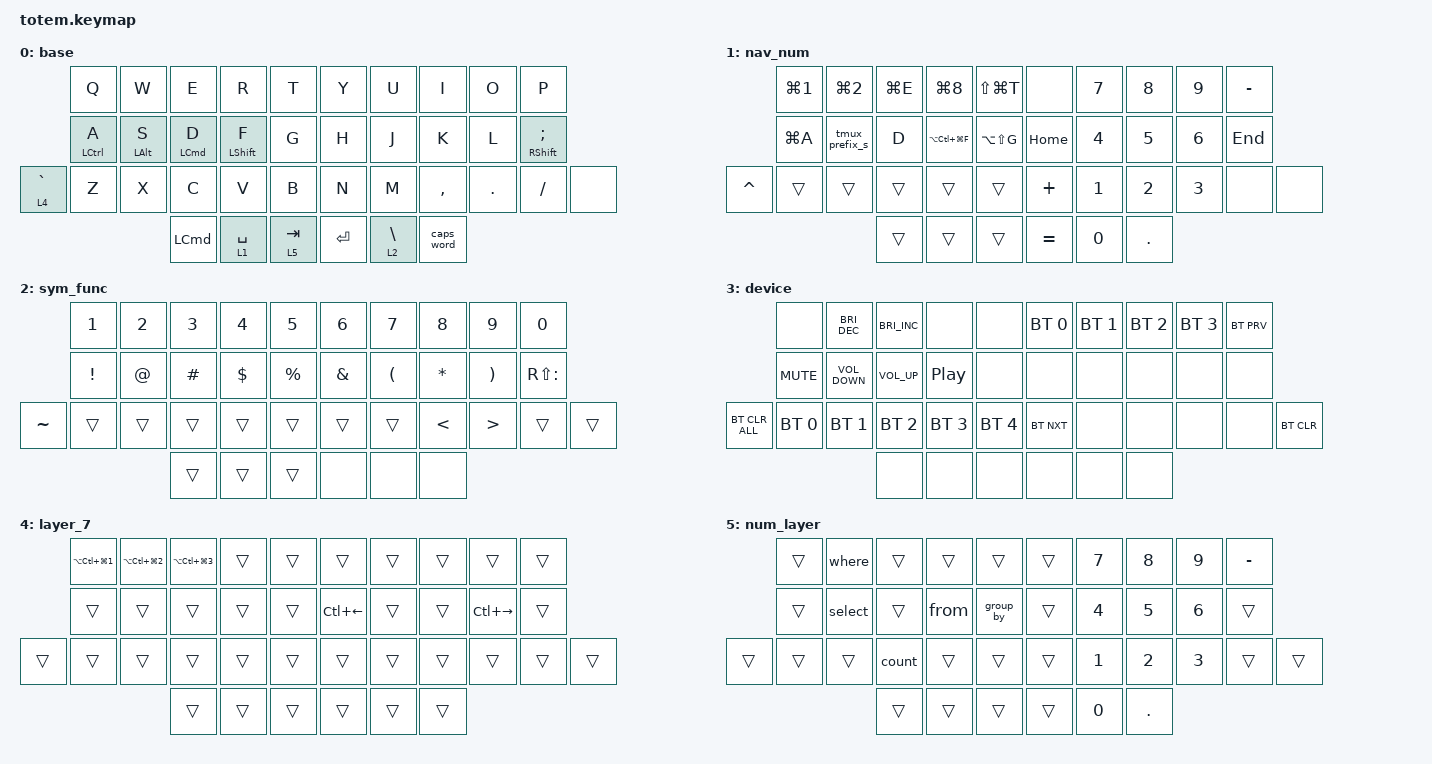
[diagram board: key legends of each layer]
//
//                                                        ▀▀▀▀▀     ▀▀▀▀▀          ▀▀█▀▀
//                                                        ▄▀▀▀▄  ▄  ▄▀▀▀▄  ▄  ▄▀▀▀▄  █  ▄▀▀▀▄
//                                                        █   █  █  █   █  █  █   █  █  █   █
//                                                         ▀▀▀   █   ▀▀▀   █   ▀▀▀   ▀   ▀▀▀
//                                                               █      ▄▄▄█▄▄▄    █   █  
//                                                               ▀      █  █  █     █▄█
//                                                             ▀▀▀▀▀    █  █  █      ▀
//                                                                      ▀  ▀  ▀
//
// ▄▄▄▄▄▄▄▄▄▄▄▄▄▄▄▄▄▄▄▄▄▄▄▄▄▄▄▄▄▄▄▄▄▄▄▄▄▄▄▄▄▄▄▄▄▄▄▄▄▄▄▄▄▄▄▄▄▄▄▄▄▄▄▄▄▄▄▄▄▄▄▄▄▄▄▄▄▄▄▄▄▄▄▄▄▄▄▄▄▄▄▄▄▄▄▄▄▄▄▄▄▄▄▄▄▄▄▄▄▄▄▄▄▄▄▄▄▄▄▄▄▄▄▄▄▄▄▄▄▄▄▄▄▄▄▄▄▄▄▄▄▄▄▄▄▄▄▄▄

#include <behaviors.dtsi>
#include <dt-bindings/zmk/bt.h>
#include <dt-bindings/zmk/keys.h>

/ {
    combos {
        compatible = "zmk,combos";

        backspace {
            bindings = <&kp BACKSPACE>;
            key-positions = <16 17>;
            layers = <0>;
        };

        minus {
            bindings = <&kp MINUS>;
            key-positions = <16 7>;
            layers = <0>;
        };

        equal {
            bindings = <&kp EQUAL>;
            key-positions = <8 16>;
        };

        copy {
            bindings = <&kp LG(C)>;
            key-positions = <22 23>;
        };

        paste {
            bindings = <&kp LG(V)>;
            key-positions = <23 24>;
        };

        cut {
            bindings = <&kp LG(X)>;
            key-positions = <21 22>;
        };

        question_mark {
            bindings = <&kp QUESTION>;
            key-positions = <28 29>;
            layers = <0>;
        };

        left_parenthesis {
            bindings = <&kp LEFT_BRACKET>;
            key-positions = <6 7>;
            layers = <0>;
        };

        right_parenthesis {
            bindings = <&kp RIGHT_BRACKET>;
            key-positions = <8 6>;
            layers = <0>;
        };

        esc {
            bindings = <&kp ESC>;
            key-positions = <17 18>;
            layers = <0>;
        };

        tmux_prefix {
            bindings = <&kp LC(A)>;
            key-positions = <10 11>;
            layers = <0>;
        };

        single_quotes {
            bindings = <&kp SINGLE_QUOTE>;
            key-positions = <16 18>;
            layers = <0>;
        };

        f18 {
            bindings = <&kp F18>;
            key-positions = <27 28>;
            layers = <0>;
        };

        shift+p {
            bindings = <&kp LS(P)>;
            key-positions = <8 9>;
            layers = <0>;
            timeout-ms = <30>;
        };

        underscore {
            bindings = <&kp UNDERSCORE>;
            key-positions = <27 17>;
        };
    };

    behaviors {
        homerow_Rshift: homerow_Rshift {
            compatible = "zmk,behavior-hold-tap";
            label = "HOMEROW_RSHIFT";
            bindings = <&kp>, <&kp>;

            #binding-cells = <2>;
            tapping-term-ms = <139>;
        };

        homerow: homerow {
            compatible = "zmk,behavior-hold-tap";
            label = "HOMEROW";
            bindings = <&kp>, <&kp>;

            #binding-cells = <2>;
            tapping-term-ms = <200>;
            quick-tap-ms = <130>;
            flavor = "tap-preferred";
        };

        homerow_LCtrl: homerow_LCtrl {
            compatible = "zmk,behavior-hold-tap";
            label = "HOMEROW_LCTRL";
            bindings = <&kp>, <&kp>;

            #binding-cells = <2>;
            tapping-term-ms = <210>;
            quick-tap-ms = <140>;
            flavor = "tap-preferred";
        };

        LT_LANG_FAST: LT_LANG_FAST {
            compatible = "zmk,behavior-hold-tap";
            label = "LT_LANG_FAST";
            bindings = <&mo>, <&kp>;

            #binding-cells = <2>;
            tapping-term-ms = <160>;
            quick-tap-ms = <120>;
        };

        homerow_LShift: homerow_LShift {
            compatible = "zmk,behavior-hold-tap";
            label = "HOMEROW_LSHIFT";
            bindings = <&kp>, <&kp>;

            #binding-cells = <2>;
            tapping-term-ms = <140>;
            flavor = "tap-preferred";
        };

        v_tab_dance: v_tab_dance {
            compatible = "zmk,behavior-tap-dance";
            label = "V_TAB_DANCE";
            #binding-cells = <0>;
            bindings = <&kp V>, <&tmux_visual_mode>;
        };
    };

    macros {
        tmux_prefix_s: tmux_prefix_s {
            compatible = "zmk,behavior-macro";
            #binding-cells = <0>;
            bindings = <&kp LC(A) &kp S>;
            label = "TMUX_PREFIX_S";
        };

        count: count {
            compatible = "zmk,behavior-macro";
            #binding-cells = <0>;
            bindings = <&kp C &kp O &kp U &kp N &kp T &kp LPAR &kp STAR &kp RPAR>;
            label = "COUNT";
        };

        select: select {
            compatible = "zmk,behavior-macro";
            #binding-cells = <0>;
            bindings = <&kp S &kp E &kp L &kp E &kp C &kp T &kp SPACE>;
            label = "SELECT";
        };

        from: from {
            compatible = "zmk,behavior-macro";
            #binding-cells = <0>;
            bindings = <&kp F &kp R &kp O &kp M &kp SPACE>;
            label = "FROM";
        };

        where: where {
            compatible = "zmk,behavior-macro";
            #binding-cells = <0>;
            bindings = <&kp W &kp H &kp E &kp R &kp E &kp SPACE>;
            label = "WHERE";
        };

        group_by: group_by {
            compatible = "zmk,behavior-macro";
            #binding-cells = <0>;
            bindings = <&kp G &kp R &kp O &kp U &kp P &kp SPACE &kp B &kp Y &kp SPACE>;
            label = "GROUP_BY";
        };

        tmux_visual_mode: tmux_visual_mode {
            compatible = "zmk,behavior-macro";
            #binding-cells = <0>;
            bindings = <&kp LC(A) &kp LEFT_BRACKET>;
            label = "TMUX_VISUAL_MODE";
        };
    };

    keymap {
        compatible = "zmk,keymap";

        base {
            bindings = <
             &kp Q                   &kp W                &kp E                    &kp R                     &kp T        &kp Y      &kp U                      &kp I       &kp O    &kp P
             &homerow_LCtrl LCTRL A  &homerow LEFT_ALT S  &homerow LEFT_COMMAND D  &homerow_LShift LSHIFT F  &kp G        &kp H      &kp J                      &kp K       &kp L    &homerow_Rshift RSHFT SEMICOLON
&lt 4 GRAVE  &kp Z                   &kp X                &kp C                    &kp V                     &kp B        &kp N      &kp M                      &kp COMMA   &kp DOT  &kp SLASH                        &none
                                                          &kp LEFT_COMMAND         &lt 1 SPACE               &lt 5 TAB    &kp ENTER  &LT_LANG_FAST 2 BACKSLASH  &caps_word
            >;
        };

        nav_num {
            bindings = <
           &kp LG(NUMBER_1)  &kp LG(NUMBER_2)  &kp LG(E)  &kp LG(NUMBER_8)   &kp LS(LG(T))    &none      &kp NUMBER_7  &kp NUMBER_8  &kp NUMBER_9  &kp MINUS
           &kp LG(A)         &tmux_prefix_s    &kp D      &kp LA(LC(LG(F)))  &kp LA(LS(G))    &kp HOME   &kp NUMBER_4  &kp N5        &kp NUMBER_6  &kp END
&kp CARET  &trans            &trans            &trans     &trans             &trans           &kp PLUS   &kp NUMBER_1  &kp NUMBER_2  &kp NUMBER_3  &none      &none
                                               &trans     &trans             &trans           &kp EQUAL  &kp NUMBER_0  &kp DOT
            >;
        };

        sym_func {
            bindings = <
           &kp NUMBER_1     &kp NUMBER_2  &kp NUMBER_3  &kp NUMBER_4  &kp NUMBER_5    &kp NUMBER_6   &kp NUMBER_7          &kp NUMBER_8   &kp NUMBER_9           &kp NUMBER_0
           &kp EXCLAMATION  &kp AT_SIGN   &kp HASH      &kp DOLLAR    &kp PERCENT     &kp AMPERSAND  &kp LEFT_PARENTHESIS  &kp ASTERISK   &kp RIGHT_PARENTHESIS  &kp RS(COLON)
&kp TILDE  &trans           &trans        &trans        &trans        &trans          &trans         &trans                &kp LESS_THAN  &kp GREATER_THAN       &trans         &trans
                                          &trans        &trans        &trans          &none          &none                 &none
            >;
        };

        device {
            bindings = <
                &none         &kp C_BRIGHTNESS_DEC  &kp C_BRIGHTNESS_INC  &none             &none           &bt BT_SEL 0  &bt BT_SEL 1  &bt BT_SEL 2  &bt BT_SEL 3  &bt BT_PRV
                &kp K_MUTE    &kp C_VOLUME_DOWN     &kp C_VOLUME_UP       &kp C_PLAY_PAUSE  &none           &none         &none         &none         &none         &none
&bt BT_CLR_ALL  &bt BT_SEL 0  &bt BT_SEL 1          &bt BT_SEL 2          &bt BT_SEL 3      &bt BT_SEL 4    &bt BT_NXT    &none         &none         &none         &none       &bt BT_CLR
                                                    &none                 &none             &none           &none         &none         &none
            >;
        };

        layer_7 {
            bindings = <
        &kp LA(LC(LG(NUMBER_1)))  &kp LA(LC(LG(NUMBER_2)))  &kp LA(LC(LG(NUMBER_3)))  &trans  &trans    &trans        &trans  &trans  &trans         &trans
        &trans                    &trans                    &trans                    &trans  &trans    &kp LC(LEFT)  &trans  &trans  &kp LC(RIGHT)  &trans
&trans  &trans                    &trans                    &trans                    &trans  &trans    &trans        &trans  &trans  &trans         &trans  &trans
                                                            &trans                    &trans  &trans    &trans        &trans  &trans
            >;
        };

        num_layer {
            bindings = <
        &trans  &where   &trans  &trans  &trans       &trans  &kp N7        &kp N8   &kp N9  &kp MINUS
        &trans  &select  &trans  &from   &group_by    &trans  &kp N4        &kp N5   &kp N6  &trans
&trans  &trans  &trans   &count  &trans  &trans       &trans  &kp NUMBER_1  &kp N2   &kp N3  &trans     &trans
                         &trans  &trans  &trans       &trans  &kp N0        &kp DOT
            >;
        };
    };

    conditional_layers {
        compatible = "zmk,conditional-layers";

        device {
            if-layers = <1 2>;
            then-layer = <3>;
        };
    };
};
